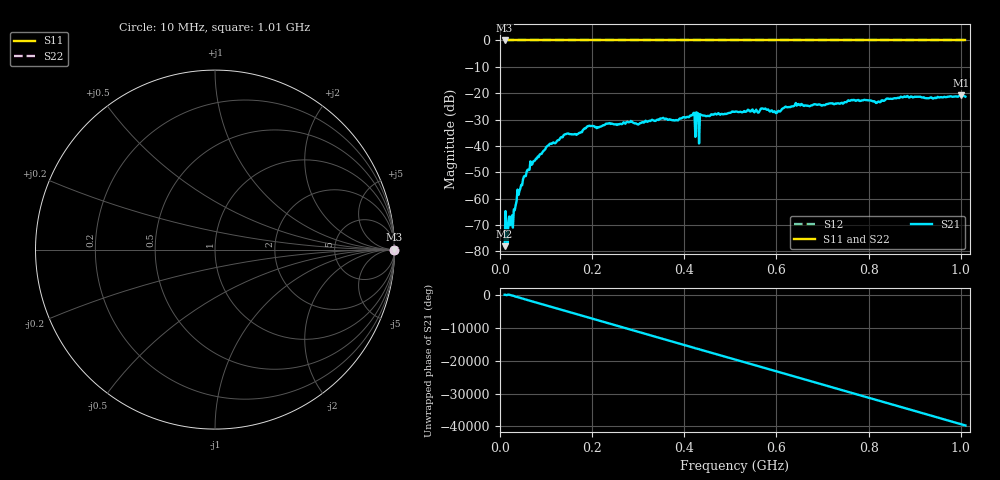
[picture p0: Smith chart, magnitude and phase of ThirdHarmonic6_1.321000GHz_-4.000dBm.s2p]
! 8/16/2025 2:41:06 PM
! C:\ANRITSUVNA\TEMP\TEMP.S2P
! CHANNEL.1
! TR.MEASUREMENT
! RAW.DATA
! RF.CORRECTION.OFF
! AVERAGING.OFF
! IF.BANDWIDTH: 5KHZ
! SWEEPTYPE:  FREQ.SWEEP(Linear)
! Reference Plane Port Info
! PORT:  PORT1  PORT2
! DISTANCE:  0  m  0  m
! TIME:  0  s  0  s
! PHASE.OFFSET:  0  deg.  0  deg.
! LOSS:  0  dB  0  dB
! REF.LOSS:  0  dB  0  dB
! REF.FREQ:  0  Hz  0  Hz
! Power Info
! POWER:  -20  dBm  -20  dBm
! EFF.POWER:  -20  dBm  -20  dBm
! SOURCE.ATTEN:  0  dB  0  dB
! TEST.ATTEN:  0  dB  0  dB
# GHZ S RI R 50.0
! FREQ.GHZ  S11RE  S11IM  S21RE  S21IM  S12RE  S12IM  S22RE  S22IM
!; PortSelection: Port_12
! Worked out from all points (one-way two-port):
!   501 points, 10 MHz to 1.01 GHz, reference 50 ohm
!   highest |S21| = -20.82 dB at 1 GHz (marker M1); lowest = -78.0 dB at 10 MHz (marker M2)
!   lowest |S11| = 0.0 dB at 10 MHz (marker M3)
!   |S11| at or under -10 dB: nowhere
!   |S22| runs from 0.0 to 0.0 dB; largest |S21 - S12| = 1.1
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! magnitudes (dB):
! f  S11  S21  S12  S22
! 10 MHz  0.0  -78.0  0.0  0.0
! 16 MHz  0.0  -77.0  0.0  0.0
! 18 MHz  0.0  -70.3  0.0  0.0
! 26 MHz  0.0  -66.3  0.0  0.0
! 42 MHz  0.0  -57.2  0.0  0.0
! 70 MHz  0.0  -47.0  0.0  0.0
! 142 MHz  0.0  -35.6  0.0  0.0
! 178 MHz  0.0  -34.7  0.0  0.0
! 194 MHz  0.0  -32.3  0.0  0.0
! 344 MHz  0.0  -30.2  0.0  0.0
! 418 MHz  0.0  -28.1  0.0  0.0
! 426 MHz  0.0  -27.3  0.0  0.0
! 428 MHz  0.0  -27.5  0.0  0.0
! 430 MHz  0.0  -27.7  0.0  0.0
! 436 MHz  0.0  -28.2  0.0  0.0
! 438 MHz  0.0  -28.3  0.0  0.0
! 510 MHz  0.0  -27.1  0.0  0.0
! 598 MHz  0.0  -27.4  0.0  0.0
! 678 MHz  0.0  -24.6  0.0  0.0
! 844 MHz  0.0  -22.2  0.0  0.0
! 1 GHz  0.0  -20.8  0.0  0.0
! 1.01 GHz  0.0  -21.3  0.0  0.0
